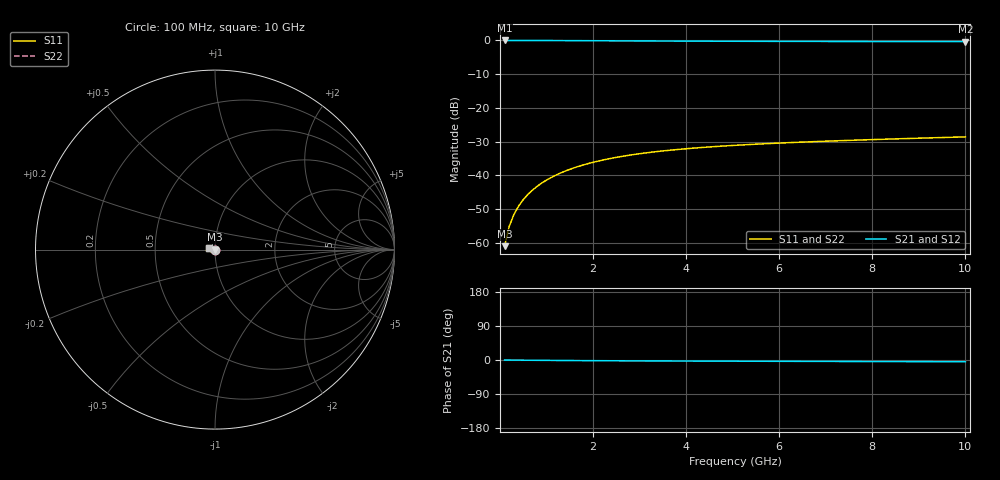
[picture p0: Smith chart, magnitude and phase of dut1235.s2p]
! Touchstone file exported from HFSS 2024.1.0
!  File:  C:/UserFiles/LocalFiles/RDL_TSV_Batchsim/temp_TSV1_1235_1780250891.aedt
!  Generated:  02:13:49 AM Jun  1, 2026
!  Design:  TSV1
!  Project:  temp_TSV1_1235_1780250891
!  Setup:  Setup1
!  Solution:  Sweep
! Variables:
!  dtsv = 8.22um
!  hbump = 3um
!  htsv = 70.66um
!  lrdl = 252.1521522um
!  p = 40
!  p1 = 48.88um
!  t = 500um
!  trdl = 3um
!  wrdl = 24.89489489um
# GHz S MA R 50.000000
! Terminal data exported
! Port[1] = TSV22_T1
! Port[2] = TSV22_T2
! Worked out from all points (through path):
!   100 points, 100 MHz to 10 GHz, reference 50 ohm
!   highest |S21| = 0.00 dB at 100 MHz (marker M1); lowest = -0.3 dB at 10 GHz (marker M2)
!   lowest |S11| = -61.1 dB at 100 MHz (marker M3), VSWR 1.00, Z = 50 - j0.087 ohm
!   |S11| at or under -10 dB: start of sweep to end of sweep
!   |S22| runs from -61.1 to -28.6 dB; largest |S21 - S12| = 7.4e-15
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0.1  0.0008861 -78.9  0.9998 -0.1  0.9998 -0.1  0.0008861 -78.9
! Gamma 0 0 0 0
! Port Impedance 50 0 50 0
0.2  0.00175 -87.1  0.9997 -0.2  0.9997 -0.2  0.00175 -87.1
0.3  0.002618 -91.2  0.9995 -0.3  0.9995 -0.3  0.002618 -91.2
0.4  0.003482 -94.2  0.9993 -0.4  0.9993 -0.4  0.003482 -94.2
0.5  0.004338 -96.7  0.999 -0.5  0.999 -0.5  0.004338 -96.7
0.6  0.005187 -99.1  0.9987 -0.6  0.9987 -0.6  0.005187 -99.1
0.7  0.006025 -101.3  0.9983 -0.7  0.9983 -0.7  0.006025 -101.3
0.8  0.006852 -103.3  0.9979 -0.8  0.9979 -0.8  0.006852 -103.3
0.9  0.007666 -105.4  0.9975 -0.9  0.9975 -0.9  0.007666 -105.4
1.1  0.009252 -109.2  0.9964 -1.1  0.9964 -1.1  0.009252 -109.2
1.4  0.01151 -114.8  0.9947 -1.3  0.9947 -1.3  0.01151 -114.8
1.6  0.01293 -118.2  0.9933 -1.5  0.9933 -1.5  0.01293 -118.2
1.8  0.01427 -121.6  0.992 -1.6  0.992 -1.6  0.01427 -121.6
2.1  0.01615 -126.4  0.9898 -1.8  0.9898 -1.8  0.01615 -126.4
2.5  0.01841 -132.4  0.987 -2.1  0.987 -2.1  0.01841 -132.4
2.9  0.02039 -137.9  0.9842 -2.3  0.9842 -2.3  0.02039 -137.9
3.4  0.02254 -144.2  0.981 -2.5  0.981 -2.5  0.02254 -144.2
4.2  0.02537 -153.2  0.9765 -2.8  0.9765 -2.8  0.02537 -153.2
5.1  0.02791 -161.8  0.9725 -3.2  0.9725 -3.2  0.02791 -161.8
6.7  0.03142 -174.3  0.9673 -3.7  0.9673 -3.7  0.03142 -174.3
8.4  0.03446 174.9  0.9636 -4.2  0.9636 -4.2  0.03446 174.9
10  0.03707 166.5  0.9612 -4.7  0.9612 -4.7  0.03707 166.5
